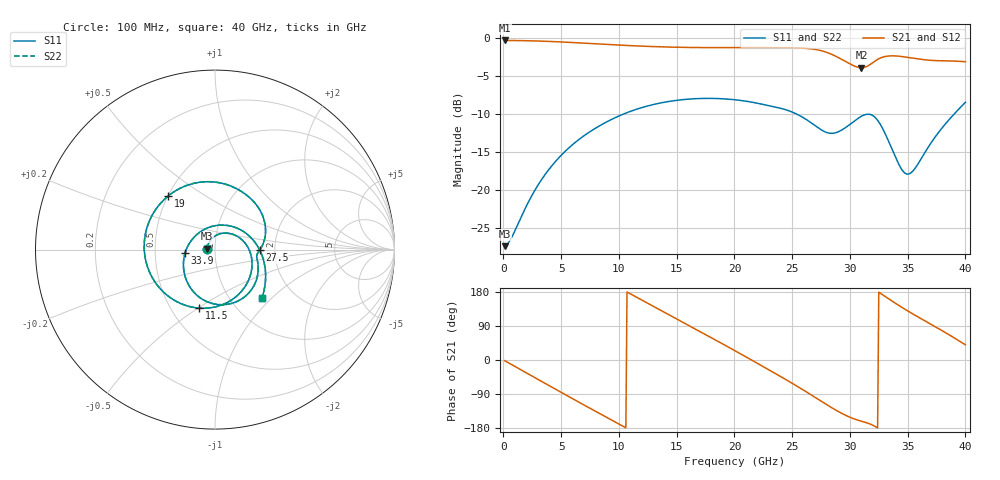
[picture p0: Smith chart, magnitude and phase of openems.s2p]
! P_ts6_finger_noplane: gold finger 0.7 × 2.1 mm between GND fingers (gap 0.3 mm), every plane cut back
! stackup: ThunderScope Rev5.3 6-layer (FR408HR / FR-4, from the board file)
! ports: 1, 2
! openEMS 0.37.0, staircase, fine mesh (dfine 0.0175 mm), 4105575 cells
# Hz S RI R 50
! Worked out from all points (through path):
!   400 points, 100 MHz to 40 GHz, reference 50 ohm
!   highest |S21| = -0.38 dB at 100 MHz (marker M1); lowest = -4.0 dB at 31 GHz (marker M2)
!   group delay of S21, straight-line fit = 46.9 ps
!   lowest |S11| = -27.4 dB at 100 MHz (marker M3), VSWR 1.09, Z = 45.9 + j0.427 ohm
!   |S11| at or under -10 dB: start of sweep to 10.45 GHz; 25.33 GHz to 39.05 GHz (13.72 GHz wide, 42.6 % of centre)
!   |S22| runs from -27.4 to -8.0 dB; largest |S21 - S12| = 0
!   S11 on the Smith chart (normalised r, x): 100 MHz: 0.92, +0.01; 11.5 GHz: 0.68, -0.50; 19 GHz: 0.50, +0.36; 27.5 GHz: 1.66, -0.01; 33.9 GHz: 0.71, -0.03; 40 GHz: 1.39, -0.87
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1e8  -0.0425 0.00464  0.9565 -0.0287  0.9565 -0.0287  -0.0425 0.00464
1.8e9  -0.00364 0.0733  0.8188 -0.4893  0.8188 -0.4893  -0.00364 0.0733
3.7e9  0.096 0.0864  0.4242 -0.8444  0.4242 -0.8444  0.096 0.0864
6.8e9  0.2064 -0.0816  -0.4002 -0.8284  -0.4002 -0.8284  0.2064 -0.0816
9.2e9  0.1195 -0.2603  -0.8195 -0.3688  -0.8195 -0.3688  0.1195 -0.2603
1.15e10  -0.09 -0.3259  -0.8558 0.2099  -0.8558 0.2099  -0.09 -0.3259
1.34e10  -0.2728 -0.2494  -0.6148 0.6157  -0.6148 0.6157  -0.2728 -0.2494
1.62e10  -0.3945 0.0254  0.0178 0.8605  0.0178 0.8605  -0.3945 0.0254
1.9e10  -0.26 0.2994  0.6365 0.5764  0.6365 0.5764  -0.26 0.2994
2.01e10  -0.1541 0.3586  0.7873 0.3438  0.7873 0.3438  -0.1541 0.3586
2.31e10  0.1473 0.3237  0.7562 -0.4023  0.7562 -0.4023  0.1473 0.3237
2.51e10  0.2703 0.1753  0.385 -0.7637  0.385 -0.7637  0.2703 0.1753
2.67e10  0.2711 0.0401  -0.0449 -0.8406  -0.0449 -0.8406  0.2711 0.0401
2.75e10  0.2486 -0.0036  -0.2595 -0.7785  -0.2595 -0.7785  0.2486 -0.0036
2.9e10  0.2348 -0.0537  -0.5315 -0.5136  -0.5315 -0.5136  0.2348 -0.0537
3.1e10  0.1939 -0.235  -0.6013 -0.2004  -0.6013 -0.2004  0.1939 -0.235
3.21e10  -0.00436 -0.303  -0.6907 -0.0735  -0.6907 -0.0735  -0.00436 -0.303
3.34e10  -0.1749 -0.1061  -0.7138 0.252  -0.7138 0.252  -0.1749 -0.1061
3.39e10  -0.1663 -0.0175  -0.6598 0.3728  -0.6598 0.3728  -0.1663 -0.0175
3.51e10  -0.0468 0.1186  -0.4526 0.584  -0.4526 0.584  -0.0468 0.1186
3.69e10  0.1763 0.0881  -0.0778 0.7054  -0.0778 0.7054  0.1763 0.0881
4e10  0.2616 -0.2704  0.5312 0.4466  0.5312 0.4466  0.2616 -0.2704
